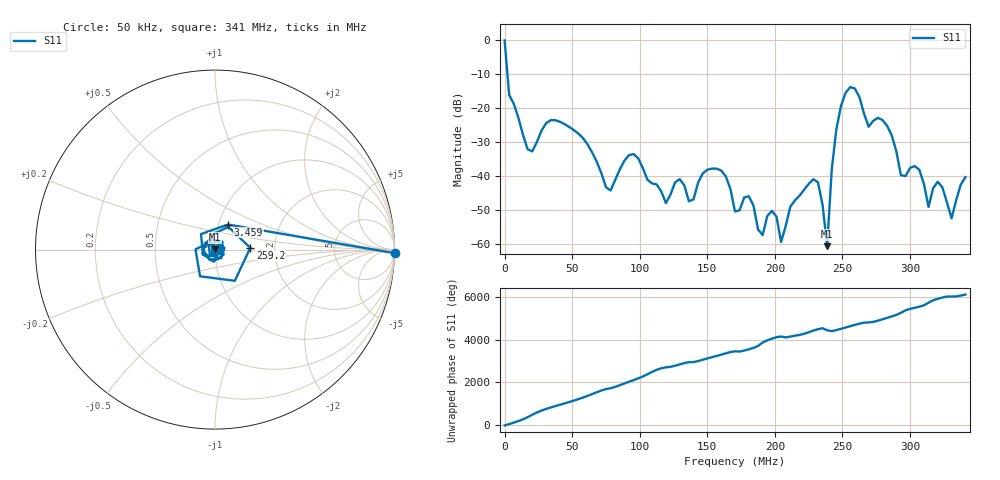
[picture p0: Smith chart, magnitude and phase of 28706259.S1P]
!File created by NanoVNA
# Hz S RI R 50
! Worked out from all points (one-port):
!   101 points, 50 kHz to 341 MHz, reference 50 ohm
!   lowest |S11| = -60.5 dB at 238.7 MHz (marker M1), VSWR 1.00, Z = 50 + j0.0855 ohm
!   |S11| at or under -10 dB: 2.173 MHz to end of sweep
!   S11 on the Smith chart (normalised r, x): 50 kHz: open; 3.459 MHz: 1.11, +0.32; 259.2 MHz: 1.49, +0.03; 341 MHz: 1.02, -0.01
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50000  1.001 -0.0199
3459500  0.0724 0.1397
1.70975e7  0.023 0.0101
4.43735e7  0.0344 -0.0478
7.5059e7  -0.00219 -0.00658
8.52875e7  0.00342 0.0122
9.5516e7  0.0144 -0.0158
1.193825e8  -0.00404 -0.000421
1.29611e8  0.00732 -0.00543
1.3643e8  0.00169 0.00396
1.602965e8  0.0068 0.0102
1.70525e8  -0.00259 -0.00161
1.807535e8  0.00289 -0.00421
1.90982e8  -0.000131 -0.00137
1.97801e8  0.000391 0.0031
2.0462e8  -0.00108 -2.57e-05
2.148485e8  -0.00352 -0.00272
2.31896e8  -0.00784 0.00242
2.38715e8  -0.000396 0.000855
2.45534e8  -0.025 0.0428
2.557625e8  0.1103 -0.174
2.59172e8  0.1967 0.00975
2.694005e8  -0.0242 0.048
2.830385e8  0.0482 -0.0281
2.93267e8  -0.00967 -0.00402
3.00086e8  0.0116 0.00656
3.307715e8  -0.00104 -0.00218
3.41e8  0.00894 -0.00389
